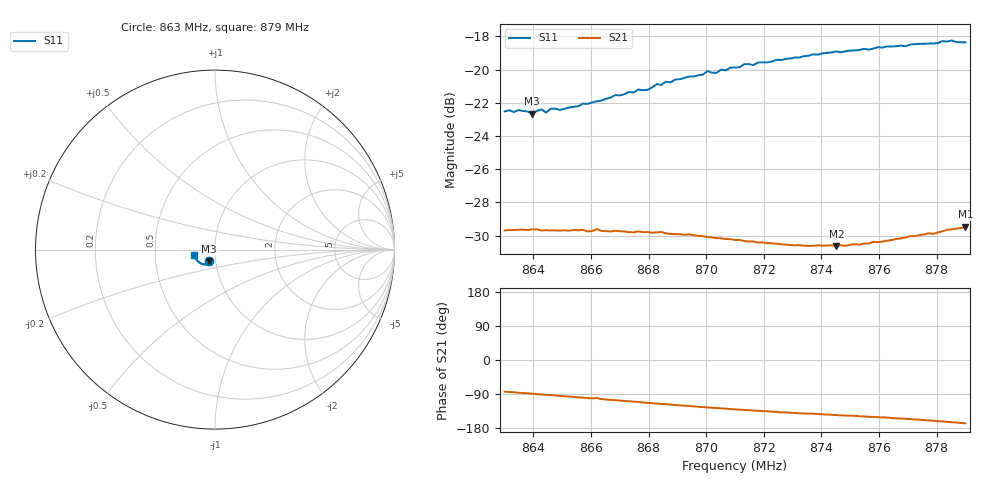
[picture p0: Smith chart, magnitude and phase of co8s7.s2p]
# HZ S RI R 50
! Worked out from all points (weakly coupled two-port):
!   101 points, 863 MHz to 879 MHz, reference 50 ohm
!   highest |S21| = -29.46 dB at 879 MHz (marker M1); lowest = -30.6 dB at 874.52 MHz (marker M2)
!   lowest |S11| = -22.7 dB at 863.96 MHz (marker M3), VSWR 1.16, Z = 46.4 - j6.16 ohm
!   |S11| at or under -10 dB: start of sweep to end of sweep
!   S12 and S22 are empty: the file has one direction only
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8.63e8  -0.0356 -0.0658  0.00378 -0.0326  0 0  0 0
8.6348e8  -0.0351 -0.0669  0.00213 -0.0329  0 0  0 0
8.6396e8  -0.0327 -0.066  0.000647 -0.033  0 0  0 0
8.6428e8  -0.0323 -0.0687  -0.000642 -0.0328  0 0  0 0
8.6444e8  -0.0331 -0.0665  -0.00103 -0.0328  0 0  0 0
8.646e8  -0.0333 -0.0686  -0.00147 -0.0328  0 0  0 0
8.6492e8  -0.0328 -0.0681  -0.00268 -0.0326  0 0  0 0
8.6572e8  -0.0328 -0.0719  -0.00545 -0.0325  0 0  0 0
8.6764e8  -0.0392 -0.0778  -0.0115 -0.0305  0 0  0 0
8.6796e8  -0.0397 -0.0773  -0.0128 -0.0298  0 0  0 0
8.6828e8  -0.0398 -0.0811  -0.0136 -0.0293  0 0  0 0
8.6844e8  -0.041 -0.08  -0.0142 -0.0292  0 0  0 0
8.686e8  -0.042 -0.0817  -0.0145 -0.0287  0 0  0 0
8.6988e8  -0.0508 -0.0821  -0.0178 -0.026  0 0  0 0
8.7004e8  -0.0521 -0.0841  -0.018 -0.0256  0 0  0 0
8.7036e8  -0.0533 -0.082  -0.0185 -0.0249  0 0  0 0
8.71e8  -0.06 -0.0818  -0.0199 -0.0234  0 0  0 0
8.7372e8  -0.0812 -0.0759  -0.0231 -0.0182  0 0  0 0
8.7452e8  -0.0883 -0.0712  -0.0242 -0.0167  0 0  0 0
8.7644e8  -0.1022 -0.0577  -0.0273 -0.0139  0 0  0 0
8.7852e8  -0.1161 -0.0386  -0.0318 -0.00896  0 0  0 0
8.79e8  -0.1167 -0.0315  -0.0328 -0.00756  0 0  0 0
